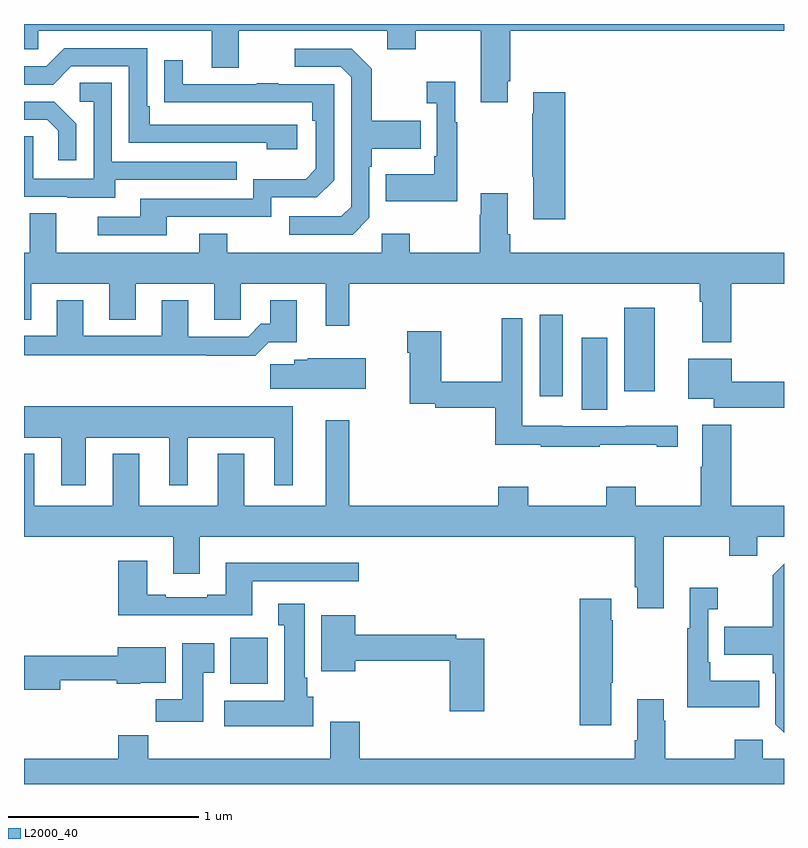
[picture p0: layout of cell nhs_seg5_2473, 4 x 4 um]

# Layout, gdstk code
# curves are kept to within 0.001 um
import gdstk
lib = gdstk.Library(unit=1e-6, precision=1e-09)
def R(c, l, rs):  # rectangles x0, y0, x1, y1
    for r in rs: c.add(gdstk.rectangle(r[:2], r[2:], *l))
def P(c, l, *ps):  # polygons
    for p in ps: c.add(gdstk.Polygon(p, *l))
L2000_40 = (2000, 40)

nhs_seg5_2473 = lib.new_cell('nhs_seg5_2473')
R(nhs_seg5_2473, L2000_40, [(256.085,849.326,256.282,849.568), (257.936,850.768,258.07,851.149), (257.714,850.839,257.836,851.269), (258.158,850.866,258.319,851.305)])
P(nhs_seg5_2473, L2000_40, [(255,852.666),(255.075,852.666),(255.075,852.764),(255.989,852.764),(255.989,852.57),(256.129,852.57),(256.129,852.764),(256.913,852.764),(256.913,852.665),(257.061,852.665),(257.061,852.764),(257.405,852.764),(257.405,852.387),(257.545,852.387),(257.545,852.499),(257.558,852.499),(257.558,852.764),(259,852.764),(259,852.799),(255,852.799)],
  [(256.438,852.27),(255.661,852.27),(255.661,852.367),(255.648,852.367),(255.648,852.672),(255.213,852.672),(255.117,852.576),(255,852.576),(255,852.48),(255.153,852.48),(255.249,852.576),(255.552,852.576),(255.552,852.174),(256.277,852.174),(256.277,852.14),(256.438,852.14)],
  [(256.818,851.778),(256.818,852.047),(256.831,852.047),(256.831,852.143),(257.087,852.143),(257.087,852.291),(256.831,852.291),(256.831,852.563),(256.725,852.669),(256.425,852.669),(256.425,852.573),(256.668,852.573),(256.722,852.519),(256.722,851.838),(256.671,851.787),(256.395,851.787),(256.395,851.691),(256.731,851.691)],
  [(255.751,851.784),(256.302,851.784),(256.302,851.886),(256.542,851.886),(256.632,851.976),(256.632,852.483),(256.337,852.483),(256.337,852.488),(256.225,852.488),(256.225,852.483),(255.835,852.483),(255.835,852.607),(255.739,852.607),(255.739,852.388),(256.516,852.387),(256.516,852.29),(256.536,852.29),(256.536,852.036),(256.483,851.983),(256.206,851.983),(256.206,851.88),(255.611,851.88),(255.611,851.784),(255.387,851.784),(255.387,851.688),(255.751,851.688)],
  [(257.281,852.283),(257.269,852.283),(257.269,852.496),(257.121,852.496),(257.121,852.383),(257.172,852.383),(257.172,852.103),(257.16,852.103),(257.16,852.007),(256.903,852.007),(256.903,851.867),(257.281,851.867)],
  [(255.481,851.979),(256.121,851.979),(256.121,852.075),(255.462,852.075),(255.462,852.491),(255.294,852.491),(255.294,852.39),(255.366,852.39),(255.366,851.985),(255.048,851.985),(255.048,852.209),(255,852.209),(255,851.889),(255.227,851.889),(255.227,851.885),(255.481,851.885)],
  [(257.849,852.439),(257.681,852.439),(257.681,852.326),(257.674,852.326),(257.674,851.995),(257.681,851.995),(257.681,851.772),(257.849,851.772)],
  [(255.276,852.274),(255.16,852.39),(255,852.39),(255,852.294),(255.122,852.294),(255.179,852.237),(255.179,852.081),(255.276,852.081)],
  [(258.722,851.432),(259,851.432),(259,851.596),(257.558,851.596),(257.558,851.692),(257.545,851.692),(257.545,851.908),(257.405,851.908),(257.405,851.795),(257.398,851.795),(257.398,851.596),(257.031,851.596),(257.031,851.695),(256.884,851.695),(256.884,851.596),(256.071,851.596),(256.071,851.695),(255.923,851.695),(255.923,851.596),(255.169,851.596),(255.169,851.804),(255.029,851.804),(255.029,851.596),(255,851.596),(255,851.242),(255.037,851.242),(255.037,851.432),(255.449,851.432),(255.449,851.242),(255.589,851.242),(255.589,851.432),(256.001,851.432),(256.001,851.242),(256.14,851.242),(256.14,851.432),(256.589,851.432),(256.589,851.211),(256.711,851.211),(256.711,851.432),(258.557,851.432),(258.557,851.336),(258.569,851.336),(258.569,851.123),(258.722,851.123)],
  [(256.287,851.124),(256.435,851.124),(256.435,851.344),(256.295,851.344),(256.295,851.221),(256.246,851.221),(256.179,851.154),(255.865,851.154),(255.865,851.344),(255.725,851.344),(255.725,851.157),(255.313,851.157),(255.313,851.344),(255.173,851.344),(255.173,851.157),(255,851.157),(255,851.056),(255.961,851.056),(255.961,851.054),(256.217,851.054)],
  [(258.029,850.585),(258.329,850.585),(258.329,850.575),(258.442,850.575),(258.442,850.685),(258.166,850.685),(258.166,850.683),(257.832,850.683),(257.832,850.684),(257.622,850.684),(257.622,851.251),(257.514,851.251),(257.514,850.916),(257.196,850.916),(257.196,851.182),(257.017,851.182),(257.017,851.069),(257.03,851.069),(257.03,850.8),(257.164,850.8),(257.164,850.78),(257.48,850.78),(257.48,850.585),(257.719,850.585),(257.719,850.575),(258.029,850.575)],
  [(256.798,851.041),(256.494,851.041),(256.494,851.032),(256.422,851.032),(256.422,851.009),(256.296,851.009),(256.296,850.88),(256.798,850.88)],
  [(259,850.916),(258.724,850.916),(258.724,851.038),(258.497,851.038),(258.497,850.826),(258.63,850.826),(258.63,850.78),(259,850.78)],
  [(255.325,850.622),(255.764,850.622),(255.764,850.371),(255.862,850.371),(255.862,850.622),(256.316,850.622),(256.316,850.371),(256.414,850.371),(256.414,850.786),(255,850.786),(255,850.622),(255.197,850.622),(255.197,850.371),(255.325,850.371)],
  [(258.367,850.1),(258.712,850.1),(258.712,850.001),(258.859,850.001),(258.859,850.1),(259,850.1),(259,850.264),(258.722,850.264),(258.722,850.69),(258.569,850.69),(258.569,850.469),(258.562,850.469),(258.562,850.264),(258.219,850.264),(258.219,850.363),(258.064,850.363),(258.064,850.264),(257.654,850.264),(257.654,850.363),(257.495,850.363),(257.495,850.264),(256.711,850.264),(256.711,850.714),(256.589,850.714),(256.589,850.264),(256.159,850.264),(256.159,850.537),(256.019,850.537),(256.019,850.264),(255.607,850.264),(255.607,850.537),(255.467,850.537),(255.467,850.264),(255.055,850.264),(255.055,850.537),(255,850.537),(255,850.1),(255.785,850.1),(255.785,849.906),(255.925,849.906),(255.925,850.1),(258.215,850.1),(258.215,849.835),(258.227,849.835),(258.227,849.723),(258.367,849.723)],
  [(256.201,849.867),(256.762,849.867),(256.762,849.964),(256.061,849.964),(256.061,849.796),(255.965,849.796),(255.965,849.783),(255.745,849.783),(255.745,849.796),(255.649,849.796),(255.649,849.973),(255.497,849.973),(255.497,849.686),(256.201,849.686)],
  [(259,849.958),(258.942,849.899),(258.942,849.627),(258.685,849.627),(258.685,849.479),(258.942,849.479),(258.942,849.383),(258.954,849.383),(258.954,849.114),(259,849.068)],
  [(258.869,849.343),(258.613,849.343),(258.613,849.439),(258.6,849.439),(258.6,849.719),(258.652,849.719),(258.652,849.832),(258.503,849.832),(258.503,849.619),(258.492,849.619),(258.492,849.203),(258.869,849.203)],
  [(258.091,849.331),(258.099,849.331),(258.099,849.662),(258.091,849.662),(258.091,849.775),(257.924,849.775),(257.924,849.108),(258.091,849.108)],
  [(256.522,849.258),(256.492,849.258),(256.492,849.358),(256.477,849.358),(256.477,849.748),(256.337,849.748),(256.337,849.635),(256.37,849.635),(256.37,849.238),(256.053,849.238),(256.053,849.104),(256.522,849.104)],
  [(257.423,849.564),(257.276,849.564),(257.276,849.584),(256.744,849.584),(256.744,849.688),(256.565,849.688),(256.565,849.392),(256.744,849.392),(256.744,849.448),(257.24,849.448),(257.24,849.183),(257.423,849.183)],
  [(255.943,849.385),(256,849.385),(256,849.541),(255.833,849.541),(255.833,849.244),(255.694,849.244),(255.694,849.126),(255.943,849.126)],
  [(255.19,849.345),(255.487,849.345),(255.487,849.326),(255.612,849.326),(255.612,849.332),(255.745,849.332),(255.745,849.52),(255.494,849.52),(255.494,849.473),(255,849.473),(255,849.295),(255.19,849.295)],
  [(259,848.932),(258.888,848.932),(258.888,849.031),(258.742,849.031),(258.742,848.932),(258.375,848.932),(258.375,849.131),(258.367,849.131),(258.367,849.244),(258.227,849.244),(258.227,849.028),(258.215,849.028),(258.215,848.932),(256.766,848.932),(256.766,849.127),(256.613,849.127),(256.613,848.932),(255.653,848.932),(255.653,849.056),(255.497,849.056),(255.497,848.932),(255,848.932),(255,848.799),(259,848.799)])

lib.write_gds('nhs_seg5_2473.gds')
